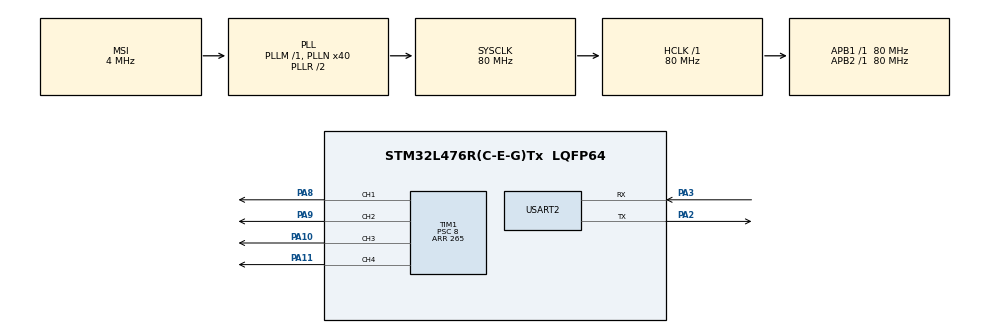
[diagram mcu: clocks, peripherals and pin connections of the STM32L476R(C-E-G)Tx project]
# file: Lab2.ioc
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Mcu.Family=STM32L4
Mcu.Name=STM32L476R(C-E-G)Tx
Mcu.Package=LQFP64
NVIC.PriorityGroup=NVIC_PRIORITYGROUP_4
NVIC.USART2_IRQn=true\:0\:0\:false\:false\:true\:true\:true\:true
PA10.Signal=S_TIM1_CH3
PA11.Signal=S_TIM1_CH4
PA13\ (JTMS-SWDIO).Mode=Serial_Wire
PA13\ (JTMS-SWDIO).Signal=SYS_JTMS-SWDIO
PA14\ (JTCK-SWCLK).Mode=Serial_Wire
PA14\ (JTCK-SWCLK).Signal=SYS_JTCK-SWCLK
PA2.Mode=Asynchronous
PA2.Signal=USART2_TX
PA3.Mode=Asynchronous
PA3.Signal=USART2_RX
PA8.Signal=S_TIM1_CH1
PA9.Signal=S_TIM1_CH2
ProjectManager.HeapSize=0x200
ProjectManager.StackSize=0x400
ProjectManager.TargetToolchain=STM32CubeIDE
RCC.AHBFreq_Value=80000000
RCC.APB1Freq_Value=80000000
RCC.APB1TimFreq_Value=80000000
RCC.APB2Freq_Value=80000000
RCC.APB2TimFreq_Value=80000000
RCC.CortexFreq_Value=80000000
RCC.HCLKFreq_Value=80000000
RCC.HSE_VALUE=8000000
RCC.HSI_VALUE=16000000
RCC.LSE_VALUE=32768
RCC.MSI_VALUE=4000000
RCC.PLLN=40
RCC.SYSCLKFreq_VALUE=80000000
RCC.SYSCLKSource=RCC_SYSCLKSOURCE_PLLCLK
RCC.VCOOutputFreq_Value=160000000
SH.S_TIM1_CH1.0=TIM1_CH1,PWM Generation1 CH1
SH.S_TIM1_CH2.0=TIM1_CH2,PWM Generation2 CH2
SH.S_TIM1_CH3.0=TIM1_CH3,PWM Generation3 CH3
SH.S_TIM1_CH4.0=TIM1_CH4,PWM Generation4 CH4
TIM1.Channel-PWM\ Generation1\ CH1=TIM_CHANNEL_1
TIM1.Channel-PWM\ Generation2\ CH2=TIM_CHANNEL_2
TIM1.Channel-PWM\ Generation3\ CH3=TIM_CHANNEL_3
TIM1.Channel-PWM\ Generation4\ CH4=TIM_CHANNEL_4
TIM1.Period=265
TIM1.Prescaler=8
TIM1.Pulse-PWM\ Generation1\ CH1=0
TIM1.Pulse-PWM\ Generation2\ CH2=0
USART2.VirtualMode-Asynchronous=VM_ASYNC
VP_TIM1_VS_ClockSourceINT.Mode=Internal
VP_TIM2_VS_ClockSourceINT.Mode=Internal
board=custom

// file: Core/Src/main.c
/* USER CODE BEGIN Header */
/**
  ******************************************************************************
  * @file           : main.c
  * @brief          : Main program body
  ******************************************************************************
  * @attention
  *
  * Copyright (c) 2024 STMicroelectronics.
  * All rights reserved.
  *
  * This software is licensed under terms that can be found in the LICENSE file
  * in the root directory of this software component.
  * If no LICENSE file comes with this software, it is provided AS-IS.
  *
  ******************************************************************************
  */
/* USER CODE END Header */
#include "main.h"

/* USER CODE BEGIN Includes */
#include "motor_driver.h"
#include <stdio.h>
#include <string.h>
/* USER CODE END Includes */

TIM_HandleTypeDef htim1;
TIM_HandleTypeDef htim2;

UART_HandleTypeDef huart2;

/* USER CODE BEGIN PV */
int char_flg = 0;
int idx = 0;
int cas = 0;
int err = 0;
uint8_t dc = 0;
char *p;
int ep;
char error[50];
uint8_t lazy[2] = {0};
uint8_t buffer[20] = {0};
uint8_t chara;
/* USER CODE END PV */

void SystemClock_Config(void);
static void MX_GPIO_Init(void);
static void MX_TIM1_Init(void);
static void MX_TIM2_Init(void);
static void MX_USART2_UART_Init(void);

int main(void)
{

  /* MCU Configuration--------------------------------------------------------*/

  /* Reset of all peripherals, Initializes the Flash interface and the Systick. */
  HAL_Init();

  /* Configure the system clock */
  SystemClock_Config();

  /* Initialize all configured peripherals */
  MX_GPIO_Init();
  MX_TIM1_Init();
  MX_TIM2_Init();
  MX_USART2_UART_Init();
  /* USER CODE BEGIN 2 */
  HAL_TIM_PWM_Start(&htim1, TIM_CHANNEL_1);
  HAL_TIM_PWM_Start(&htim1, TIM_CHANNEL_2);
  motor_t mot1 = {.duty    = 0,
  				  .channel = 1,
				  .timer = TIM1};
  motor_t mot2 = {.duty    = 0,
  				  .channel = 2,
      			  .timer = TIM1};
  start_PWM(&htim1);
  /* USER CODE END 2 */

  /* Infinite loop */
  /* USER CODE BEGIN WHILE */
  HAL_UART_Receive_IT(&huart2,(uint8_t*) &chara,1);
    while (1)
    {

    /* USER CODE END WHILE */

    /* USER CODE BEGIN 3 */

    	if (char_flg){
    		char_flg = 0;

    		HAL_UART_Transmit(&huart2,(uint8_t*) &chara,1,1);
    		HAL_UART_Receive_IT(&huart2,(uint8_t*) &chara,1);
    		buffer[idx] = chara;
    		idx++;

    		if (chara == '\177'){
    			cas = 1;
    		}
    		else if (chara == '\r'){
    			cas = 2;
    		}
    		else{
    			cas = 0;
    		}

    		switch (cas){
			case 1:
				idx--;
				buffer[idx] = '\0';
				idx--;
				buffer[idx] = '\0';
				break;
			case 2:
				if (idx != 5){
					err = 1;
					//invalid length
				}
				else if (buffer[0] != 'm' && buffer[0] != 'M'){
					err = 2;
					//invalid first character
				}
				else if (buffer[1] != '1' && buffer[1] != '2'){
					err = 3;
					//invalid second character
				}
				else if (((buffer[3] < '0' || buffer[3] > '9') && (buffer[3] < 'A' || buffer[3] > 'F')) && ((buffer[2] < '0' || buffer[2] > '9') && (buffer[2] < 'A' || buffer[2] > 'F'))){
					err = 4;
					//invalid duty cycle
				}
				else{
					err = 0;
					lazy[0] = buffer[2];
					lazy[1] = buffer[3];
					dc = strtol(lazy,&p,16);
					if (dc > 127){
						dc -= 256;
					}
					if (buffer[1] - '0' == 1){
						set_duty(&mot1, dc);
					}
					else{
						set_duty(&mot2, dc);
					}
					ep = sprintf(error, "\nSuccess!\n");
					HAL_UART_Transmit(&huart2,error,ep,400);
					idx = 0;
				}
				break;

    		}
    		switch (err){
				case 1:
					ep = sprintf(error, "\nError 1\n\r");
					HAL_UART_Transmit(&huart2,error,ep,400);
					idx = 0;
					err = 0;
					set_duty(&mot1,0);
					set_duty(&mot2,0);
					break;
				case 2:
					ep = sprintf(error, "\nError 2\n\r");
					HAL_UART_Transmit(&huart2,error,ep,400);
					idx = 0;
					err = 0;
					set_duty(&mot1,0);
					set_duty(&mot2,0);
					break;
				case 3:
					ep = sprintf(error, "\nError 3\n\r");
					HAL_UART_Transmit(&huart2,error,ep,400);
					idx = 0;
					err = 0;
					set_duty(&mot1,0);
					set_duty(&mot2,0);
					break;
				case 4:
					ep = sprintf(error, "\nError 4\n\r");
					HAL_UART_Transmit(&huart2,error,ep,400);
					idx = 0;
					err = 0;
					set_duty(&mot1,0);
					set_duty(&mot2,0);
					break;
				}

    	}

//    	set_duty(&mot1, 42);
//
//    	HAL_Delay(1000);
//    	set_duty(&mot1, -42);
//    	HAL_Delay(1000);
  }
  /* USER CODE END 3 */
}

void SystemClock_Config(void)
{
  RCC_OscInitTypeDef RCC_OscInitStruct = {0};
  RCC_ClkInitTypeDef RCC_ClkInitStruct = {0};

  /** Configure the main internal regulator output voltage
  */
  if (HAL_PWREx_ControlVoltageScaling(PWR_REGULATOR_VOLTAGE_SCALE1) != HAL_OK)
  {
    Error_Handler();
  }

  /** Initializes the RCC Oscillators according to the specified parameters
  * in the RCC_OscInitTypeDef structure.
  */
  RCC_OscInitStruct.OscillatorType = RCC_OSCILLATORTYPE_MSI;
  RCC_OscInitStruct.MSIState = RCC_MSI_ON;
  RCC_OscInitStruct.MSICalibrationValue = 0;
  RCC_OscInitStruct.MSIClockRange = RCC_MSIRANGE_6;
  RCC_OscInitStruct.PLL.PLLState = RCC_PLL_ON;
  RCC_OscInitStruct.PLL.PLLSource = RCC_PLLSOURCE_MSI;
  RCC_OscInitStruct.PLL.PLLM = 1;
  RCC_OscInitStruct.PLL.PLLN = 40;
  RCC_OscInitStruct.PLL.PLLP = RCC_PLLP_DIV7;
  RCC_OscInitStruct.PLL.PLLQ = RCC_PLLQ_DIV2;
  RCC_OscInitStruct.PLL.PLLR = RCC_PLLR_DIV2;
  if (HAL_RCC_OscConfig(&RCC_OscInitStruct) != HAL_OK)
  {
    Error_Handler();
  }

  /** Initializes the CPU, AHB and APB buses clocks
  */
  RCC_ClkInitStruct.ClockType = RCC_CLOCKTYPE_HCLK|RCC_CLOCKTYPE_SYSCLK
                              |RCC_CLOCKTYPE_PCLK1|RCC_CLOCKTYPE_PCLK2;
  RCC_ClkInitStruct.SYSCLKSource = RCC_SYSCLKSOURCE_PLLCLK;
  RCC_ClkInitStruct.AHBCLKDivider = RCC_SYSCLK_DIV1;
  RCC_ClkInitStruct.APB1CLKDivider = RCC_HCLK_DIV1;
  RCC_ClkInitStruct.APB2CLKDivider = RCC_HCLK_DIV1;

  if (HAL_RCC_ClockConfig(&RCC_ClkInitStruct, FLASH_LATENCY_4) != HAL_OK)
  {
    Error_Handler();
  }
}

static void MX_TIM1_Init(void)
{

  TIM_ClockConfigTypeDef sClockSourceConfig = {0};
  TIM_MasterConfigTypeDef sMasterConfig = {0};
  TIM_OC_InitTypeDef sConfigOC = {0};
  TIM_BreakDeadTimeConfigTypeDef sBreakDeadTimeConfig = {0};

  htim1.Instance = TIM1;
  htim1.Init.Prescaler = 8;
  htim1.Init.CounterMode = TIM_COUNTERMODE_UP;
  htim1.Init.Period = 265;
  htim1.Init.ClockDivision = TIM_CLOCKDIVISION_DIV1;
  htim1.Init.RepetitionCounter = 0;
  htim1.Init.AutoReloadPreload = TIM_AUTORELOAD_PRELOAD_DISABLE;
  if (HAL_TIM_Base_Init(&htim1) != HAL_OK)
  {
    Error_Handler();
  }
  sClockSourceConfig.ClockSource = TIM_CLOCKSOURCE_INTERNAL;
  if (HAL_TIM_ConfigClockSource(&htim1, &sClockSourceConfig) != HAL_OK)
  {
    Error_Handler();
  }
  if (HAL_TIM_PWM_Init(&htim1) != HAL_OK)
  {
    Error_Handler();
  }
  sMasterConfig.MasterOutputTrigger = TIM_TRGO_RESET;
  sMasterConfig.MasterOutputTrigger2 = TIM_TRGO2_RESET;
  sMasterConfig.MasterSlaveMode = TIM_MASTERSLAVEMODE_DISABLE;
  if (HAL_TIMEx_MasterConfigSynchronization(&htim1, &sMasterConfig) != HAL_OK)
  {
    Error_Handler();
  }
  sConfigOC.OCMode = TIM_OCMODE_PWM1;
  sConfigOC.Pulse = 0;
  sConfigOC.OCPolarity = TIM_OCPOLARITY_HIGH;
  sConfigOC.OCNPolarity = TIM_OCNPOLARITY_HIGH;
  sConfigOC.OCFastMode = TIM_OCFAST_DISABLE;
  sConfigOC.OCIdleState = TIM_OCIDLESTATE_RESET;
  sConfigOC.OCNIdleState = TIM_OCNIDLESTATE_RESET;
  if (HAL_TIM_PWM_ConfigChannel(&htim1, &sConfigOC, TIM_CHANNEL_1) != HAL_OK)
  {
    Error_Handler();
  }
  if (HAL_TIM_PWM_ConfigChannel(&htim1, &sConfigOC, TIM_CHANNEL_2) != HAL_OK)
  {
    Error_Handler();
  }
  if (HAL_TIM_PWM_ConfigChannel(&htim1, &sConfigOC, TIM_CHANNEL_3) != HAL_OK)
  {
    Error_Handler();
  }
  if (HAL_TIM_PWM_ConfigChannel(&htim1, &sConfigOC, TIM_CHANNEL_4) != HAL_OK)
  {
    Error_Handler();
  }
  sBreakDeadTimeConfig.OffStateRunMode = TIM_OSSR_DISABLE;
  sBreakDeadTimeConfig.OffStateIDLEMode = TIM_OSSI_DISABLE;
  sBreakDeadTimeConfig.LockLevel = TIM_LOCKLEVEL_OFF;
  sBreakDeadTimeConfig.DeadTime = 0;
  sBreakDeadTimeConfig.BreakState = TIM_BREAK_DISABLE;
  sBreakDeadTimeConfig.BreakPolarity = TIM_BREAKPOLARITY_HIGH;
  sBreakDeadTimeConfig.BreakFilter = 0;
  sBreakDeadTimeConfig.Break2State = TIM_BREAK2_DISABLE;
  sBreakDeadTimeConfig.Break2Polarity = TIM_BREAK2POLARITY_HIGH;
  sBreakDeadTimeConfig.Break2Filter = 0;
  sBreakDeadTimeConfig.AutomaticOutput = TIM_AUTOMATICOUTPUT_DISABLE;
  if (HAL_TIMEx_ConfigBreakDeadTime(&htim1, &sBreakDeadTimeConfig) != HAL_OK)
  {
    Error_Handler();
  }
  HAL_TIM_MspPostInit(&htim1);

}

static void MX_TIM2_Init(void)
{

  TIM_ClockConfigTypeDef sClockSourceConfig = {0};
  TIM_MasterConfigTypeDef sMasterConfig = {0};

  htim2.Instance = TIM2;
  htim2.Init.Prescaler = 0;
  htim2.Init.CounterMode = TIM_COUNTERMODE_UP;
  htim2.Init.Period = 4294967295;
  htim2.Init.ClockDivision = TIM_CLOCKDIVISION_DIV1;
  htim2.Init.AutoReloadPreload = TIM_AUTORELOAD_PRELOAD_DISABLE;
  if (HAL_TIM_Base_Init(&htim2) != HAL_OK)
  {
    Error_Handler();
  }
  sClockSourceConfig.ClockSource = TIM_CLOCKSOURCE_INTERNAL;
  if (HAL_TIM_ConfigClockSource(&htim2, &sClockSourceConfig) != HAL_OK)
  {
    Error_Handler();
  }
  sMasterConfig.MasterOutputTrigger = TIM_TRGO_RESET;
  sMasterConfig.MasterSlaveMode = TIM_MASTERSLAVEMODE_DISABLE;
  if (HAL_TIMEx_MasterConfigSynchronization(&htim2, &sMasterConfig) != HAL_OK)
  {
    Error_Handler();
  }

}

static void MX_USART2_UART_Init(void)
{

  huart2.Instance = USART2;
  huart2.Init.BaudRate = 115200;
  huart2.Init.WordLength = UART_WORDLENGTH_8B;
  huart2.Init.StopBits = UART_STOPBITS_1;
  huart2.Init.Parity = UART_PARITY_NONE;
  huart2.Init.Mode = UART_MODE_TX_RX;
  huart2.Init.HwFlowCtl = UART_HWCONTROL_NONE;
  huart2.Init.OverSampling = UART_OVERSAMPLING_16;
  huart2.Init.OneBitSampling = UART_ONE_BIT_SAMPLE_DISABLE;
  huart2.AdvancedInit.AdvFeatureInit = UART_ADVFEATURE_NO_INIT;
  if (HAL_UART_Init(&huart2) != HAL_OK)
  {
    Error_Handler();
  }

}

static void MX_GPIO_Init(void)
{

  /* GPIO Ports Clock Enable */
  __HAL_RCC_GPIOA_CLK_ENABLE();

}

/* USER CODE BEGIN 4 */
void HAL_UART_RxCpltCallback(UART_HandleTypeDef *huart)
{
  /* Prevent unused argument(s) compilation warning */
  char_flg = 1;

}
/* USER CODE END 4 */

void Error_Handler(void)
{
  __disable_irq();
  while (1)
  {
  }
}
